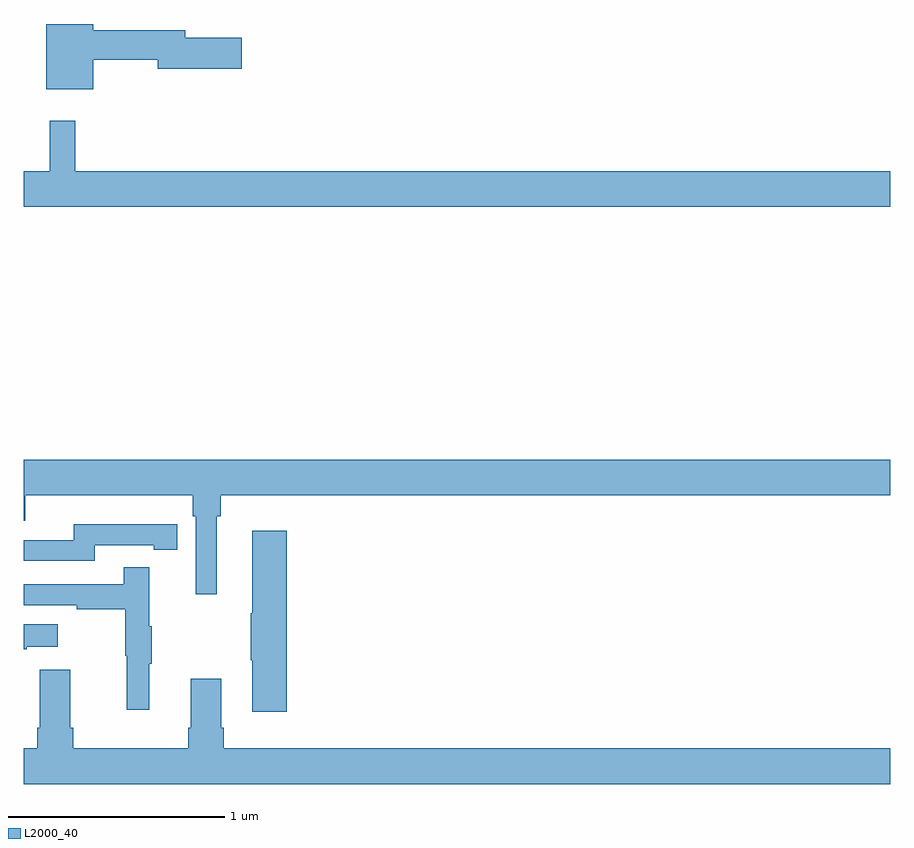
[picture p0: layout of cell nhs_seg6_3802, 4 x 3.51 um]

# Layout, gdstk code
import gdstk
lib = gdstk.Library(unit=1e-6, precision=1e-09)
def P(c, l, *ps):  # polygons
    for p in ps: c.add(gdstk.Polygon(p, *l))
L2000_40 = (2000, 40)

nhs_seg6_3802 = lib.new_cell('nhs_seg6_3802')
P(nhs_seg6_3802, L2000_40, [(335.32,961.336),(335.618,961.336),(335.618,961.294),(336.007,961.294),(336.007,961.436),(335.746,961.436),(335.746,961.472),(335.32,961.472),(335.32,961.5),(335.105,961.5),(335.105,961.199),(335.32,961.199)],
  [(339,960.82),(335.237,960.82),(335.237,961.054),(335.12,961.054),(335.12,960.82),(335,960.82),(335,960.656),(339,960.656)],
  [(335.89,959.228),(335.909,959.228),(335.909,959.324),(339,959.324),(339,959.488),(335,959.488),(335,959.207),(335.008,959.207),(335.008,959.324),(335.78,959.324),(335.78,959.228),(335.793,959.228),(335.793,958.869),(335.89,958.869)],
  [(335.328,959.094),(335.6,959.094),(335.6,959.074),(335.708,959.074),(335.708,959.19),(335.6,959.19),(335.6,959.191),(335.232,959.191),(335.232,959.118),(335,959.118),(335,959.022),(335.328,959.022)],
  [(336.215,959.161),(336.056,959.161),(336.056,958.781),(336.049,958.781),(336.049,958.564),(336.056,958.564),(336.056,958.326),(336.215,958.326)],
  [(335.579,958.547),(335.59,958.547),(335.59,958.721),(335.579,958.721),(335.579,958.993),(335.461,958.993),(335.461,958.914),(335,958.914),(335,958.818),(335.245,958.818),(335.245,958.798),(335.469,958.798),(335.469,958.584),(335.476,958.584),(335.476,958.335),(335.579,958.335)],
  [(335.015,958.625),(335.158,958.625),(335.158,958.729),(335,958.729),(335,958.615),(335.015,958.615)],
  [(339,958.156),(335.924,958.156),(335.924,958.252),(335.911,958.252),(335.911,958.477),(335.771,958.477),(335.771,958.252),(335.759,958.252),(335.759,958.156),(335.228,958.156),(335.228,958.252),(335.215,958.252),(335.215,958.519),(335.075,958.519),(335.075,958.252),(335.063,958.252),(335.063,958.156),(335,958.156),(335,957.992),(339,957.992)])

lib.write_gds('nhs_seg6_3802.gds')
